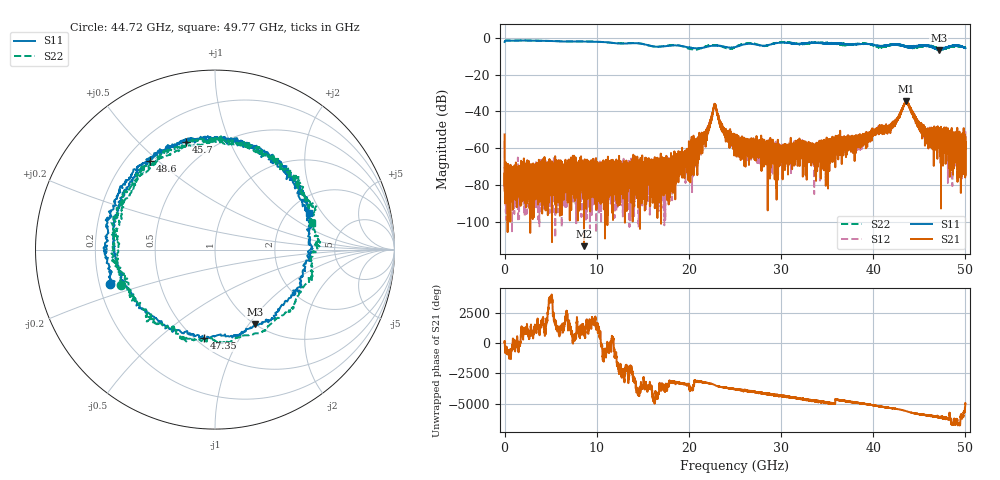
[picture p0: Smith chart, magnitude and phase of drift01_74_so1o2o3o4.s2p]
!Created with skrf (http://scikit-rf.org).
# Hz S RI R 50.0
!freq ReS11 ImS11 ReS21 ImS21 ReS12 ImS12 ReS22 ImS22
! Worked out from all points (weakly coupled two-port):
!   10001 points, 300 kHz to 50 GHz, reference 50 ohm
!   highest |S21| = -34.41 dB at 43.59 GHz (marker M1); lowest = -113.3 dB at 8.615 GHz (marker M2)
!   lowest |S11| = -6.5 dB at 47.11 GHz (marker M3), VSWR 2.78, Z = 50 - j53.4 ohm
!   |S11| at or under -10 dB: nowhere
!   |S22| runs from -6.4 to -1.4 dB; largest |S21 - S12| = 0.0037
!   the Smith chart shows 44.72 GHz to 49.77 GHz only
!   S11 on the Smith chart (normalised r, x): 44.72 GHz: 0.24, -0.15; 45.7 GHz: 0.36, +0.70; 47.35 GHz: 0.55, -0.72; 48.6 GHz: 0.30, +0.47; 49.77 GHz: 2.57, +1.53
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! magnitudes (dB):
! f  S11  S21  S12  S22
! 300 kHz  -2.2  -52.5  -56.1  -2.1
! 295.3 MHz  -1.4  -71.8  -85.5  -1.4
! 8.335 GHz  -1.9  -75.3  -97.4  -1.8
! 8.615 GHz  -2.0  -113.3  -77.8  -1.8
! 16.67 GHz  -4.8  -75.6  -75.9  -4.8
! 20.76 GHz  -5.6  -57.8  -58.4  -6.2
! 21.77 GHz  -5.0  -51.0  -53.7  -4.7
! 22.8 GHz  -4.3  -36.5  -36.0  -4.0
! 23.74 GHz  -4.6  -51.6  -50.1  -5.0
! 25 GHz  -5.0  -54.8  -57.3  -5.0
! 29.52 GHz  -2.8  -62.8  -59.6  -2.6
! 33.34 GHz  -2.5  -66.7  -62.4  -2.6
! 38.65 GHz  -3.3  -58.2  -53.7  -3.1
! 41.67 GHz  -3.8  -48.5  -49.9  -3.9
! 43.59 GHz  -4.6  -34.4  -35.1  -4.9
! 44.72 GHz  -4.2  -45.3  -46.0  -5.1
! 45.7 GHz  -4.1  -50.9  -54.2  -4.2
! 47.11 GHz  -6.5  -55.6  -50.3  -5.6
! 47.35 GHz  -6.1  -48.3  -56.9  -5.6
! 48.6 GHz  -4.3  -68.9  -58.7  -4.7
! 49.77 GHz  -5.0  -74.1  -74.1  -5.0
! 50 GHz  -5.6  -57.0  -54.7  -5.3
